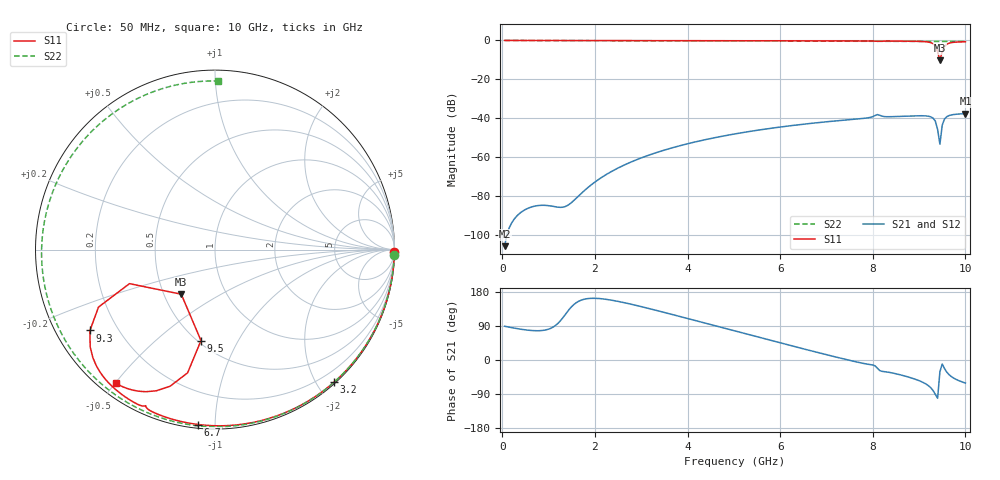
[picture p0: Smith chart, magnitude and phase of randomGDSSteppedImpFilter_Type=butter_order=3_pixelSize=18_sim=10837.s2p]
! freq	dB(S11)	phase(S11)	dB(S12)	phase(S12)
!  dB(S21)	phase(S21)	dB(S22)	phase(S22)
!S-par simulation data
#  GHz  S  DB  R 50
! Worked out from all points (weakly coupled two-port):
!   200 points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, 50 MHz to 10 GHz, reference 50 ohm
!   highest |S21| = -37.65 dB at 10 GHz (marker M1); lowest = -105.9 dB at 50 MHz (marker M2)
!   lowest |S11| = -10.1 dB at 9.45 GHz (marker M3), VSWR 1.91, Z = 30.6 - j16.9 ohm
!   |S11| at or under -10 dB: 9.448522 GHz to 9.451478 GHz (2.957 MHz wide, 0.0313 % of centre)
!   |S22| runs from -0.5 to 0.0 dB; largest |S21 - S12| = 0
!   S11 on the Smith chart (normalised r, x): 50 MHz: open; 3.2 GHz: 0.02, -2.24; 6.7 GHz: 0.02, -0.91; 9.3 GHz: 0.10, -0.29; 9.5 GHz: 0.52, -0.71; 10 GHz: 0.05, -0.50
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0.05  -0.00 -0.8  -105.87 89.1  -105.87 89.1  -0.00 -1.6
0.8  -0.02 -12.3  -84.90 77.3  -84.90 77.3  -0.03 -25.7
1.65  -0.03 -25.2  -79.98 155.1  -79.98 155.1  -0.07 -52.0
1.75  -0.03 -26.7  -77.75 159.8  -77.75 159.8  -0.07 -55.1
2.35  -0.05 -35.7  -67.54 158.1  -67.54 158.1  -0.09 -72.7
3.2  -0.06 -48.1  -58.72 134.8  -58.72 134.8  -0.12 -96.4
3.4  -0.07 -50.9  -57.16 128.6  -57.16 128.6  -0.13 -101.7
5.05  -0.11 -73.8  -47.98 75.6  -47.98 75.6  -0.20 -143.5
5.9  -0.15 -85.1  -44.88 48.4  -44.88 48.4  -0.25 -164.0
6.7  -0.18 -95.5  -42.59 23.3  -42.59 23.3  -0.31 176.6
7.85  -0.27 -110.7  -39.96 -10.2  -39.96 -10.2  -0.40 147.9
8.1  -0.43 -113.9  -38.14 -21.5  -38.14 -21.5  -0.42 141.5
8.35  -0.32 -117.2  -39.25 -32.5  -39.25 -32.5  -0.43 134.9
9.05  -0.52 -131.6  -38.74 -57.1  -38.74 -57.1  -0.48 116.0
9.3  -1.63 -147.1  -39.93 -80.2  -39.93 -80.2  -0.50 109.0
9.35  -2.81 -153.7  -41.45 -90.3  -41.45 -90.3  -0.50 107.6
9.4  -5.80 -158.3  -45.81 -100.7  -45.81 -100.7  -0.51 106.2
9.45  -10.13 -127.1  -53.40 -30.7  -53.40 -30.7  -0.51 104.7
9.5  -5.80 -98.8  -43.56 -10.6  -43.56 -10.6  -0.51 103.3
9.55  -3.06 -102.5  -40.41 -22.8  -40.41 -22.8  -0.51 101.9
9.65  -1.39 -112.6  -38.63 -39.0  -38.63 -39.0  -0.52 99.0
10  -0.66 -126.5  -37.65 -60.8  -37.65 -60.8  -0.54 88.9
